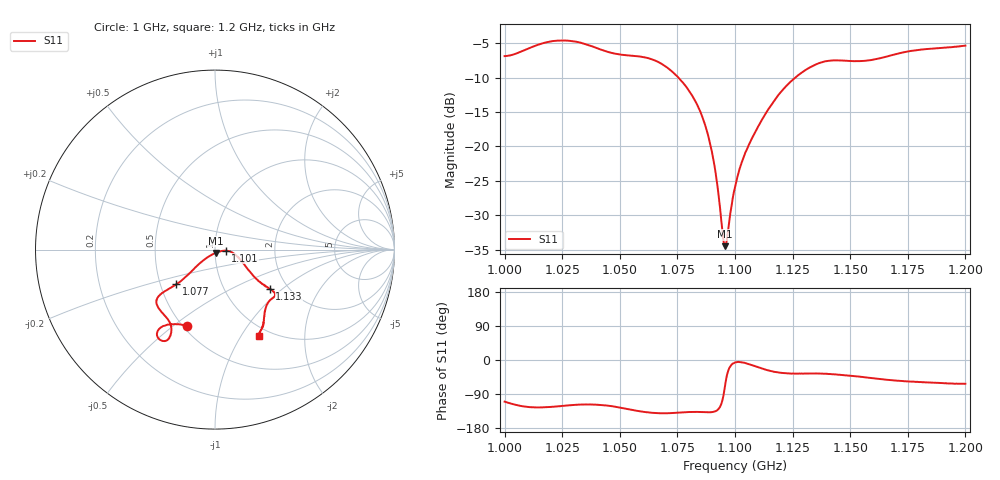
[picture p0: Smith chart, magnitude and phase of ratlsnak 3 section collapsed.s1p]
! NanoVNA-App
! Date: 2026-05-22 22:06:26
! Start: 1GHz Stop: 1.2GHz Points: 401
! S-Parameter data: F S11
# Hz S RI R 50
!  Frequency  S11_Real  S11_Imag
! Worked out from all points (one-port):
!   401 points, 1 GHz to 1.2 GHz, reference 50 ohm
!   lowest |S11| = -34.5 dB at 1.095 GHz (marker M1), VSWR 1.04, Z = 50.5 - j1.84 ohm
!   |S11| at or under -10 dB: 1.075 GHz to 1.126 GHz (50.71 MHz wide, 4.61 % of centre)
!   S11 on the Smith chart (normalised r, x): 1 GHz: 0.53, -0.56; 1.077 GHz: 0.60, -0.25; 1.101 GHz: 1.13, -0.01; 1.133 GHz: 1.62, -0.82; 1.2 GHz: 0.89, -1.20
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1e9  -0.1536 -0.4261
1.013e9  -0.3078 -0.4391
1.025e9  -0.3043 -0.5039
1.0315e9  -0.2706 -0.5066
1.039e9  -0.245 -0.4653
1.05e9  -0.2697 -0.3796
1.063e9  -0.3269 -0.2859
1.069e9  -0.3014 -0.248
1.075e9  -0.2437 -0.2106
1.0775e9  -0.2155 -0.193
1.0835e9  -0.1479 -0.138
1.088e9  -0.0938 -0.0843
1.091e9  -0.0534 -0.0512
1.0925e9  -0.0331 -0.0375
1.0945e9  -0.00722 -0.0235
1.0955e9  0.0049 -0.0182
1.0965e9  0.0162 -0.0137
1.1e9  0.0503 -0.0058
1.101e9  0.0594 -0.00561
1.105e9  0.0928 -0.0146
1.111e9  0.1392 -0.0536
1.1185e9  0.1958 -0.1253
1.125e9  0.2469 -0.1784
1.1325e9  0.305 -0.2184
1.14e9  0.3358 -0.2482
1.15e9  0.3133 -0.2762
1.175e9  0.2714 -0.4082
1.2e9  0.247 -0.4803
